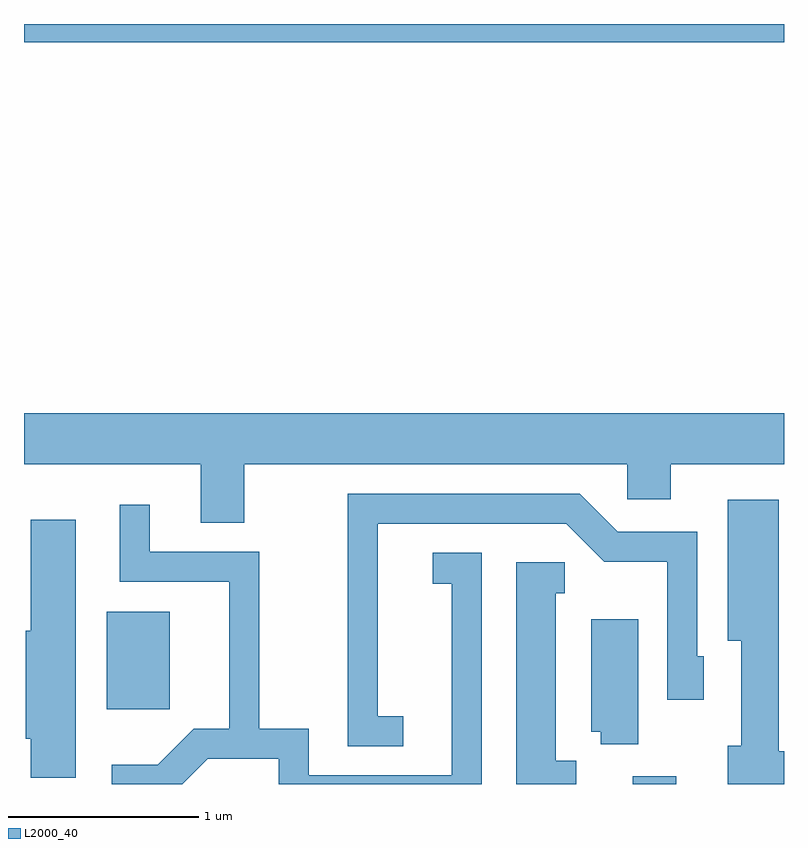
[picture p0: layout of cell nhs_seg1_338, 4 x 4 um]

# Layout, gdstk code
import gdstk
lib = gdstk.Library(unit=1e-6, precision=1e-09)
def R(c, l, rs):  # rectangles x0, y0, x1, y1
    for r in rs: c.add(gdstk.rectangle(r[:2], r[2:], *l))
def P(c, l, *ps):  # polygons
    for p in ps: c.add(gdstk.Polygon(p, *l))
L2000_40 = (2000, 40)

nhs_seg1_338 = lib.new_cell('nhs_seg1_338')
R(nhs_seg1_338, L2000_40, [(198.816,855.712,199.044,855.754), (196.046,856.106,196.379,856.619), (195.611,859.616,199.611,859.712)])
P(nhs_seg1_338, L2000_40, [(196.769,857.396),(198.786,857.396),(198.786,857.211),(199.014,857.211),(199.014,857.396),(199.611,857.396),(199.611,857.664),(195.611,857.664),(195.611,857.396),(196.541,857.396),(196.541,857.086),(196.769,857.086)],
  [(197.608,856.069),(197.474,856.069),(197.474,857.081),(198.464,857.081),(198.664,856.881),(198.996,856.881),(198.996,856.156),(199.189,856.156),(199.189,856.384),(199.154,856.384),(199.154,857.039),(198.737,857.039),(198.537,857.239),(197.316,857.239),(197.316,855.911),(197.608,855.911)],
  [(199.611,855.884),(199.584,855.884),(199.584,857.209),(199.316,857.209),(199.316,856.466),(199.386,856.466),(199.386,855.914),(199.316,855.914),(199.316,855.712),(199.611,855.712)],
  [(196.577,855.846),(196.951,855.846),(196.951,855.712),(198.019,855.712),(198.019,856.929),(197.763,856.929),(197.763,856.766),(197.861,856.766),(197.861,855.759),(197.109,855.759),(197.109,856.004),(196.849,856.004),(196.849,856.934),(196.274,856.934),(196.274,857.183),(196.116,857.183),(196.116,856.776),(196.691,856.776),(196.691,856.004),(196.504,856.004),(196.314,855.814),(196.073,855.814),(196.073,855.712),(196.443,855.712)],
  [(195.884,857.104),(195.646,857.104),(195.646,856.519),(195.621,856.519),(195.621,855.951),(195.646,855.951),(195.646,855.746),(195.884,855.746)],
  [(198.518,855.834),(198.409,855.834),(198.409,856.716),(198.458,856.716),(198.458,856.879),(198.201,856.879),(198.201,855.712),(198.518,855.712)],
  [(198.844,856.579),(198.596,856.579),(198.596,855.986),(198.646,855.986),(198.646,855.921),(198.844,855.921)])

lib.write_gds('nhs_seg1_338.gds')
